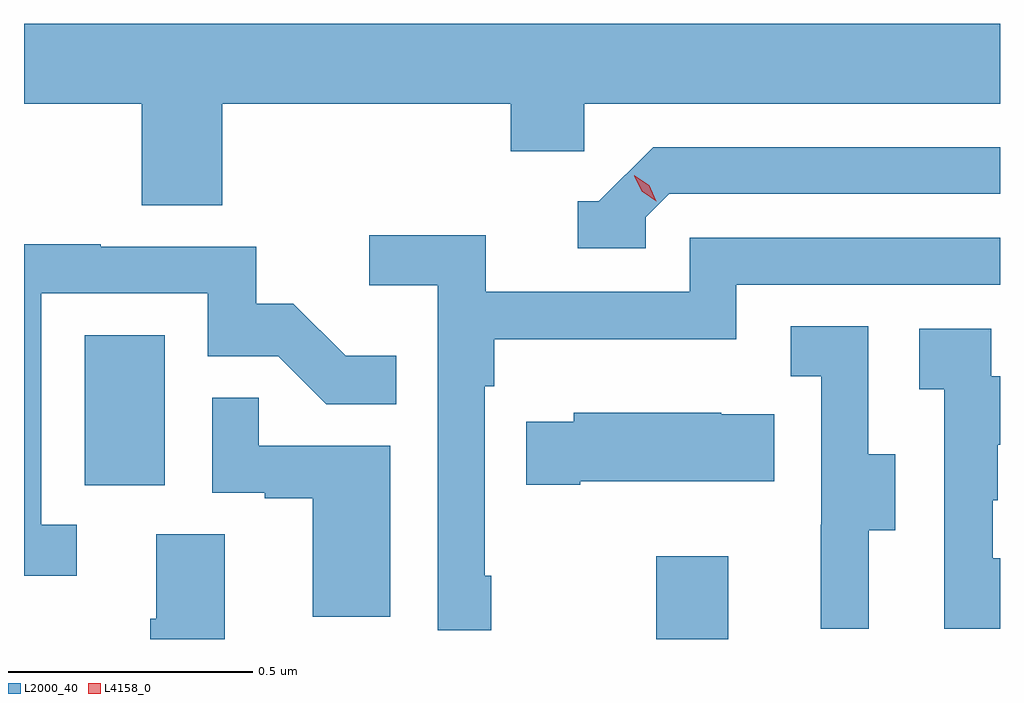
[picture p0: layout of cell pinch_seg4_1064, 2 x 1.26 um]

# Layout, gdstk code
import gdstk
lib = gdstk.Library(unit=1e-6, precision=1e-09)
def R(c, l, rs):  # rectangles x0, y0, x1, y1
    for r in rs: c.add(gdstk.rectangle(r[:2], r[2:], *l))
def P(c, l, *ps):  # polygons
    for p in ps: c.add(gdstk.Polygon(p, *l))
L2000_40 = (2000, 40)
L4158_0 = (4158, 0)

pinch_seg4_1064 = lib.new_cell('pinch_seg4_1064')
R(pinch_seg4_1064, L2000_40, [(795.196,763.754,795.343,763.924), (794.024,764.07,794.188,764.377)])
P(pinch_seg4_1064, L2000_40, [(794.306,764.852),(794.897,764.852),(794.897,764.754),(795.048,764.754),(795.048,764.852),(795.9,764.852),(795.9,765.016),(793.9,765.016),(793.9,764.852),(794.141,764.852),(794.141,764.644),(794.306,764.644)],
  [(795.174,764.619),(795.222,764.667),(795.9,764.667),(795.9,764.763),(795.189,764.763),(795.078,764.652),(795.035,764.652),(795.035,764.556),(795.174,764.556)],
  [(794.857,763.885),(794.844,763.885),(794.844,764.273),(794.864,764.273),(794.864,764.369),(795.36,764.369),(795.36,764.481),(795.9,764.481),(795.9,764.577),(795.264,764.577),(795.264,764.466),(794.846,764.466),(794.846,764.582),(794.607,764.582),(794.607,764.48),(794.748,764.48),(794.748,763.773),(794.857,763.773)],
  [(794.008,763.989),(793.935,763.989),(793.935,764.463),(794.277,764.463),(794.277,764.334),(794.421,764.334),(794.519,764.236),(794.663,764.236),(794.663,764.335),(794.559,764.335),(794.452,764.442),(794.376,764.442),(794.376,764.559),(794.057,764.559),(794.057,764.564),(793.9,764.564),(793.9,763.884),(794.008,763.884)],
  [(795.631,763.978),(795.685,763.978),(795.685,764.133),(795.63,764.133),(795.63,764.396),(795.471,764.396),(795.471,764.293),(795.534,764.293),(795.534,763.989),(795.533,763.989),(795.533,763.776),(795.631,763.776)],
  [(795.9,763.92),(795.885,763.92),(795.885,764.039),(795.895,764.039),(795.895,764.153),(795.9,764.153),(795.9,764.293),(795.882,764.293),(795.882,764.391),(795.735,764.391),(795.735,764.267),(795.786,764.267),(795.786,763.776),(795.9,763.776)],
  [(794.65,764.151),(794.381,764.151),(794.381,764.249),(794.286,764.249),(794.286,764.055),(794.393,764.055),(794.393,764.043),(794.492,764.043),(794.492,763.8),(794.65,763.8)],
  [(795.04,764.078),(795.437,764.078),(795.437,764.215),(795.329,764.215),(795.329,764.218),(795.027,764.218),(795.027,764.2),(794.929,764.2),(794.929,764.071),(795.04,764.071)],
  [(794.311,763.97),(794.171,763.97),(794.171,763.796),(794.159,763.796),(794.159,763.754),(794.311,763.754)])
P(pinch_seg4_1064, L4158_0, [(795.196,764.652),(795.166,764.672),(795.151,764.704),(795.151,764.705),(795.151,764.705),(795.181,764.685),(795.196,764.652),(795.196,764.652)])

lib.write_gds('pinch_seg4_1064.gds')
